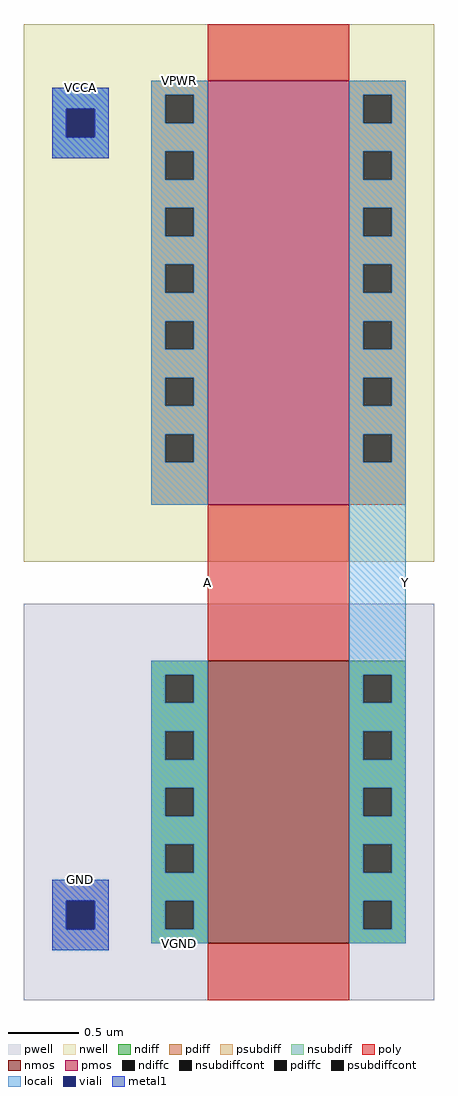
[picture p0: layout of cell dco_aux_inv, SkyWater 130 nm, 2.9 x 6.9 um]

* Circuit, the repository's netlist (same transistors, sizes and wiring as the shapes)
* NGSPICE file created from dco_aux_inv.ext - technology: sky130A

.subckt dco_aux_inv VPWR VCCA A Y GND VGND
X0 Y A VGND GND sky130_fd_pr__nfet_01v8 ad=0.8 pd=4.8 as=0.8 ps=4.8 w=2 l=1
X1 Y A VPWR VCCA sky130_fd_pr__pfet_01v8 ad=1.2 pd=6.8 as=1.2 ps=6.8 w=3 l=1
.ends

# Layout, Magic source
magic
tech sky130A
<< nwell >>
rect -130 -40 160 340
<< pwell >>
rect -130 -350 160 -70
<< nmos >>
rect 0 -310 100 -110
<< pmos >>
rect 0 0 100 300
<< ndiff >>
rect -40 -120 0 -110
rect -40 -140 -30 -120
rect -10 -140 0 -120
rect -40 -160 0 -140
rect -40 -180 -30 -160
rect -10 -180 0 -160
rect -40 -200 0 -180
rect -40 -220 -30 -200
rect -10 -220 0 -200
rect -40 -240 0 -220
rect -40 -260 -30 -240
rect -10 -260 0 -240
rect -40 -280 0 -260
rect -40 -300 -30 -280
rect -10 -300 0 -280
rect -40 -310 0 -300
rect 100 -120 140 -110
rect 100 -140 110 -120
rect 130 -140 140 -120
rect 100 -160 140 -140
rect 100 -180 110 -160
rect 130 -180 140 -160
rect 100 -200 140 -180
rect 100 -220 110 -200
rect 130 -220 140 -200
rect 100 -240 140 -220
rect 100 -260 110 -240
rect 130 -260 140 -240
rect 100 -280 140 -260
rect 100 -300 110 -280
rect 130 -300 140 -280
rect 100 -310 140 -300
<< pdiff >>
rect -40 290 0 300
rect -40 270 -30 290
rect -10 270 0 290
rect -40 250 0 270
rect -40 230 -30 250
rect -10 230 0 250
rect -40 210 0 230
rect -40 190 -30 210
rect -10 190 0 210
rect -40 170 0 190
rect -40 150 -30 170
rect -10 150 0 170
rect -40 130 0 150
rect -40 110 -30 130
rect -10 110 0 130
rect -40 90 0 110
rect -40 70 -30 90
rect -10 70 0 90
rect -40 50 0 70
rect -40 30 -30 50
rect -10 30 0 50
rect -40 0 0 30
rect 100 290 140 300
rect 100 270 110 290
rect 130 270 140 290
rect 100 250 140 270
rect 100 230 110 250
rect 130 230 140 250
rect 100 210 140 230
rect 100 190 110 210
rect 130 190 140 210
rect 100 170 140 190
rect 100 150 110 170
rect 130 150 140 170
rect 100 130 140 150
rect 100 110 110 130
rect 130 110 140 130
rect 100 90 140 110
rect 100 70 110 90
rect 130 70 140 90
rect 100 50 140 70
rect 100 30 110 50
rect 130 30 140 50
rect 100 0 140 30
<< ndiffc >>
rect -30 -140 -10 -120
rect -30 -180 -10 -160
rect -30 -220 -10 -200
rect -30 -260 -10 -240
rect -30 -300 -10 -280
rect 110 -140 130 -120
rect 110 -180 130 -160
rect 110 -220 130 -200
rect 110 -260 130 -240
rect 110 -300 130 -280
<< pdiffc >>
rect -30 270 -10 290
rect -30 230 -10 250
rect -30 190 -10 210
rect -30 150 -10 170
rect -30 110 -10 130
rect -30 70 -10 90
rect -30 30 -10 50
rect 110 270 130 290
rect 110 230 130 250
rect 110 190 130 210
rect 110 150 130 170
rect 110 110 130 130
rect 110 70 130 90
rect 110 30 130 50
<< psubdiff >>
rect -110 -280 -70 -265
rect -110 -300 -100 -280
rect -80 -300 -70 -280
rect -110 -315 -70 -300
<< nsubdiff >>
rect -110 280 -70 295
rect -110 260 -100 280
rect -80 260 -70 280
rect -110 245 -70 260
<< psubdiffcont >>
rect -100 -300 -80 -280
<< nsubdiffcont >>
rect -100 260 -80 280
<< poly >>
rect 0 300 100 340
rect 0 -110 100 0
rect 0 -350 100 -310
<< locali >>
rect -110 280 -70 295
rect -110 260 -100 280
rect -80 260 -70 280
rect -110 245 -70 260
rect -40 290 0 300
rect -40 270 -30 290
rect -10 270 0 290
rect -40 250 0 270
rect -40 230 -30 250
rect -10 230 0 250
rect -40 210 0 230
rect -40 190 -30 210
rect -10 190 0 210
rect -40 170 0 190
rect -40 150 -30 170
rect -10 150 0 170
rect -40 130 0 150
rect -40 110 -30 130
rect -10 110 0 130
rect -40 90 0 110
rect -40 70 -30 90
rect -10 70 0 90
rect -40 50 0 70
rect -40 30 -30 50
rect -10 30 0 50
rect -40 0 0 30
rect 100 290 140 300
rect 100 270 110 290
rect 130 270 140 290
rect 100 250 140 270
rect 100 230 110 250
rect 130 230 140 250
rect 100 210 140 230
rect 100 190 110 210
rect 130 190 140 210
rect 100 170 140 190
rect 100 150 110 170
rect 130 150 140 170
rect 100 130 140 150
rect 100 110 110 130
rect 130 110 140 130
rect 100 90 140 110
rect 100 70 110 90
rect 130 70 140 90
rect 100 50 140 70
rect 100 30 110 50
rect 130 30 140 50
rect -40 -120 0 -110
rect -40 -140 -30 -120
rect -10 -140 0 -120
rect -40 -160 0 -140
rect -40 -180 -30 -160
rect -10 -180 0 -160
rect -40 -200 0 -180
rect -40 -220 -30 -200
rect -10 -220 0 -200
rect -40 -240 0 -220
rect -40 -260 -30 -240
rect -10 -260 0 -240
rect -110 -280 -70 -265
rect -110 -300 -100 -280
rect -80 -300 -70 -280
rect -110 -315 -70 -300
rect -40 -280 0 -260
rect -40 -300 -30 -280
rect -10 -300 0 -280
rect -40 -310 0 -300
rect 100 -120 140 30
rect 100 -140 110 -120
rect 130 -140 140 -120
rect 100 -160 140 -140
rect 100 -180 110 -160
rect 130 -180 140 -160
rect 100 -200 140 -180
rect 100 -220 110 -200
rect 130 -220 140 -200
rect 100 -240 140 -220
rect 100 -260 110 -240
rect 130 -260 140 -240
rect 100 -280 140 -260
rect 100 -300 110 -280
rect 130 -300 140 -280
rect 100 -310 140 -300
<< viali >>
rect -100 260 -80 280
rect -100 -300 -80 -280
<< metal1 >>
rect -110 280 -70 295
rect -110 260 -100 280
rect -80 260 -70 280
rect -110 245 -70 260
rect -110 -280 -70 -265
rect -110 -300 -100 -280
rect -80 -300 -70 -280
rect -110 -315 -70 -300
<< labels >>
rlabel locali -20 300 -20 300 1 VPWR
port 1 n
rlabel metal1 -90 295 -90 295 1 VCCA
port 2 n
rlabel poly 0 -55 0 -55 7 A
port 3 w
rlabel locali 140 -55 140 -55 3 Y
port 4 e
rlabel metal1 -90 -265 -90 -265 1 GND
port 5 n
rlabel locali -20 -310 -20 -310 5 VGND
port 6 s
<< end >>
